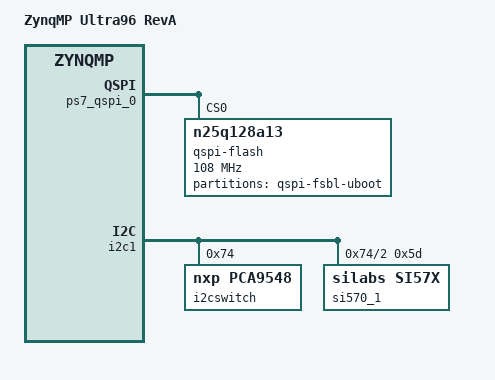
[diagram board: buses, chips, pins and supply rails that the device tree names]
/*
 * ZynqMP Ultra96 board device tree
 *
 * Copyright (c) 2019, Xilinx Inc
 * All rights reserved.
 *
 * Redistribution and use in source and binary forms, with or without
 * modification, are permitted provided that the following conditions are met:
 *     * Redistributions of source code must retain the above copyright
 *       notice, this list of conditions and the following disclaimer.
 *     * Redistributions in binary form must reproduce the above copyright
 *       notice, this list of conditions and the following disclaimer in the
 *       documentation and/or other materials provided with the distribution.
 *     * Neither the name of the <organization> nor the
 *       names of its contributors may be used to endorse or promote products
 *       derived from this software without specific prior written permission.
 *
 * THIS SOFTWARE IS PROVIDED BY THE COPYRIGHT HOLDERS AND CONTRIBUTORS "AS IS" AND
 * ANY EXPRESS OR IMPLIED WARRANTIES, INCLUDING, BUT NOT LIMITED TO, THE IMPLIED
 * WARRANTIES OF MERCHANTABILITY AND FITNESS FOR A PARTICULAR PURPOSE ARE
 * DISCLAIMED. IN NO EVENT SHALL <COPYRIGHT HOLDER> BE LIABLE FOR ANY
 * DIRECT, INDIRECT, INCIDENTAL, SPECIAL, EXEMPLARY, OR CONSEQUENTIAL DAMAGES
 * (INCLUDING, BUT NOT LIMITED TO, PROCUREMENT OF SUBSTITUTE GOODS OR SERVICES;
 * LOSS OF USE, DATA, OR PROFITS; OR BUSINESS INTERRUPTION) HOWEVER CAUSED AND
 * ON ANY THEORY OF LIABILITY, WHETHER IN CONTRACT, STRICT LIABILITY, OR TORT
 * (INCLUDING NEGLIGENCE OR OTHERWISE) ARISING IN ANY WAY OUT OF THE USE OF THIS
 * SOFTWARE, EVEN IF ADVISED OF THE POSSIBILITY OF SUCH DAMAGE.
 */

#define HAS_SMMU
#include "zynqmp.dtsh"

/dts-v1/;

#include "zynqmp-arm.dtsi"
#include "zynqmp-memory-regions.dtsi"

/ {
	model = "ZynqMP Ultra96 RevA";
	compatible = "xlnx,zynqmp-ultra96", "xlnx,zynqmp";
};

&ps7_qspi_0 {
	qspi-flash@0 {
		compatible = "n25q128a13";
		spi-max-frequency = <108000000>;
		reg = <0>;
		partition@0 {
			label = "qspi-fsbl-uboot";
			reg = <0x0 0x1000000>;
		};
	};
};

/* Add I2C devices */

/* SPI devices are WiFi/Bluetooth chip.
 * Add this if QEMU supports it
 */

/* Add DP clock when it is finalised */

/* Hack in the si570 clock for DP testing
 * This is not actually on the board
 */

&amba {
	i2c1: i2c1@0xFF030000 {
		#address-cells = <1>;
		#size-cells = <0>;
		clocks = <I2C_CLOCKS>;
		compatible = "xlnx,ps7-i2c-1.00.a", "cdns,i2c-r1p10";
		interrupts = <I2C1_IRQ_0>;
		reg = <BASE_ADDR(I2C1) 0x1000>;
		i2cswitch@74 {
			#address-cells = <1>;
			#size-cells = <0>;
			compatible = "nxp,pca9548";
			reg = <0x74>;
			i2c@2 {
				#address-cells = <1>;
				#size-cells = <0>;
				reg = <2>;
				si570_1: clock-generator@5d {
					compatible = "silabs,si57x";
					reg = <0x5d>;
					temperature-stability=<50>;
				};
			};
		};
	};

	/* This models the SW4 button attached to MIO23_GPIO_PB.  */
	sw4: sw4 {
		compatible = "xlnx,gpio-key";
		gpio-controller;
		#gpio-cells = <1>;
		num-gpios = <1>;
		inverted = <1>;
	};
};

&psu_gpio {
	num-gpios = <24>;
	gpios = <
		&dummy_gpio 0
		&dummy_gpio 1
		&dummy_gpio 2
		&dummy_gpio 3
		&dummy_gpio 4
		&dummy_gpio 5
		&dummy_gpio 6
		&dummy_gpio 7
		&dummy_gpio 8
		&dummy_gpio 9
		&dummy_gpio 10
		&dummy_gpio 11
		&dummy_gpio 12
		&dummy_gpio 13
		&dummy_gpio 14
		&dummy_gpio 15
		&dummy_gpio 16
		&dummy_gpio 17
		&dummy_gpio 18
		&dummy_gpio 19
		&dummy_gpio 20
		&dummy_gpio 21
		&dummy_gpio 22
		&sw4 0
	>;
};

&iou_slcr_0 {
	mio-bank0-1.8v = <1>;
	mio-bank1-1.8v = <1>;
	mio-bank2-1.8v = <1>;
};
